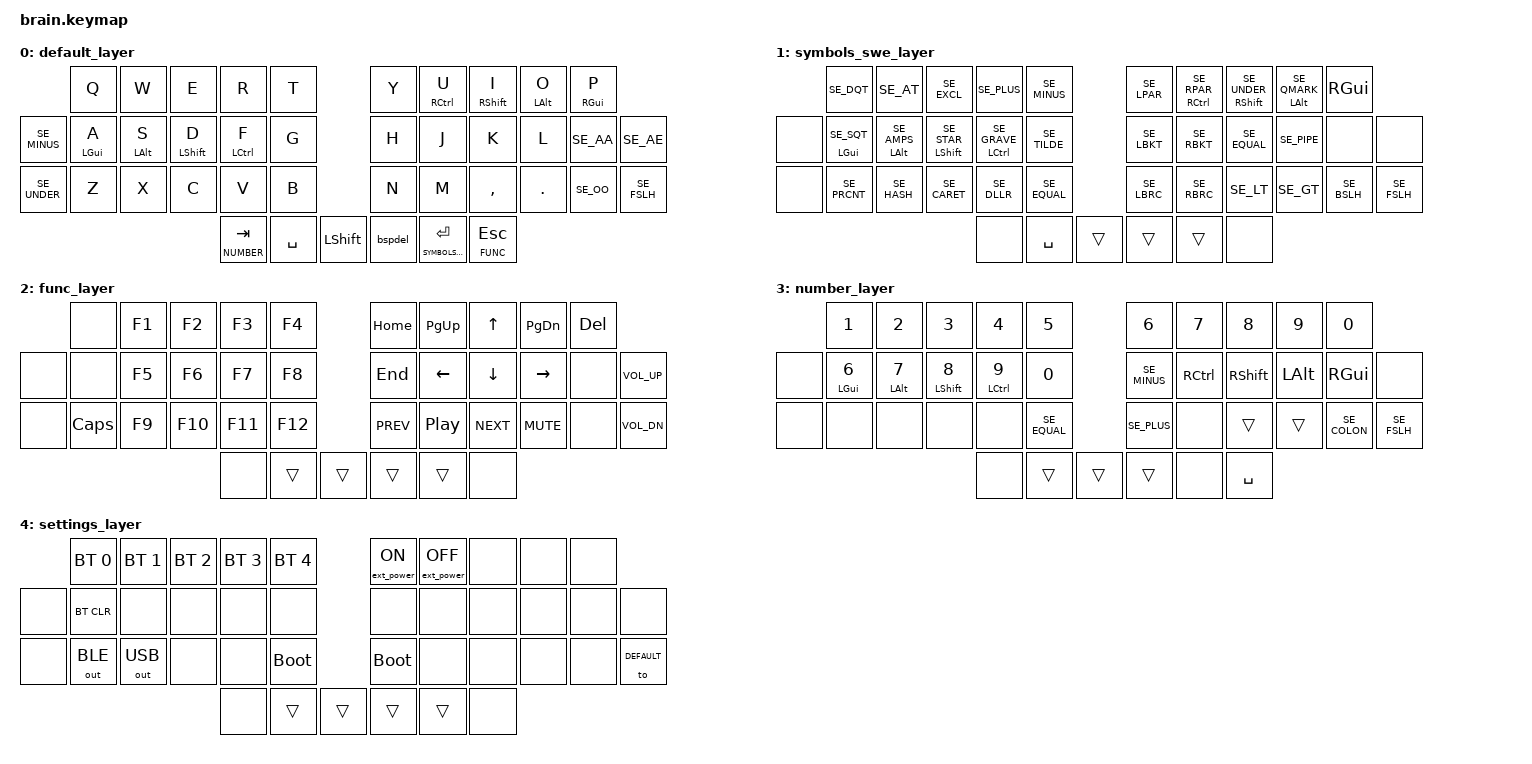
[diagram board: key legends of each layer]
/*
 * Copyright (c) 2020 The ZMK Contributors
 *
 * SPDX-License-Identifier: MIT
 */

#include <behaviors.dtsi>
#include <dt-bindings/zmk/keys.h>
#include <dt-bindings/zmk/bt.h>
#include <dt-bindings/zmk/outputs.h>
#include <dt-bindings/zmk/ext_power.h>
#include "swe_keys.h"

#define DEFAULT     0
#define SYMBOLS_SWE 1
#define FUNC        2
#define NUMBER      3
#define SETTINGS    4

/ {
    behaviors {
        hm: homerow_mods {
            compatible = "zmk,behavior-hold-tap";
            label = "HOMEROW_MODS";
            #binding-cells = <2>;
            tapping-term-ms = <200>;
            quick-tap-ms = <0>;
            flavor = "tap-preferred";
            bindings = <&kp>, <&kp>;
        };
        hs: homerow_mods_slow {
            compatible = "zmk,behavior-hold-tap";
            label = "HOMEROW_MODS_SLOW";
            #binding-cells = <2>;
            tapping-term-ms = <300>;
            quick-tap-ms = <0>;
            flavor = "tap-preferred";
            bindings = <&kp>, <&kp>;
        };
        bspdel: backspace_del {
            compatible = "zmk,behavior-mod-morph";
            #binding-cells = <0>;
            bindings = <&kp BSPC>, <&kp DEL>;
            mods = <(MOD_LCTL|MOD_RCTL)>;
        };
    };
    cond_layers {
        compatible = "zmk,conditional-layers";
        // Define SETTINGS layer as tri-state
        func_tristate {
            if-layers = <SYMBOLS_SWE FUNC>;
            then-layer = <SETTINGS>;
        };
    };

/*           40 Keys
╭─────────────────╮ ╭─────────────────╮
│    0  1  2  3  4│ │ 5  6  7  8  9   │
│10 11 12 13 14 15│ │16 17 18 19 20 21│
│22 23 24 25 26 27│ │28 29 30 31 32 33│
╰────────╮34 35 36│ │37 38 39╭────────╯
         ╰────────╯ ╰────────╯       */
    keymap {
        compatible = "zmk,keymap";

        default_layer {
            bindings = <
                         &kp Q       &kp W       &kp E         &kp R           &kp T                        &kp Y                 &hm RCTRL U  &hm RSHIFT I &hm LALT O &hs RGUI P
           &kp SE_MINUS &hs LGUI A &hm LALT S  &hm LSHIFT D    &hm LCTRL F     &kp G                        &kp H                 &kp J        &kp K        &kp L      &kp SE_AA  &kp SE_AE
            &kp SE_UNDER &kp Z       &kp X       &kp C         &kp V           &kp B                        &kp N                 &kp M        &kp COMMA    &kp DOT    &kp SE_OO  &kp SE_FSLH
                                                              &lt NUMBER TAB  &kp SPACE  &kp LSHIFT &bspdel &lt SYMBOLS_SWE ENTER  &lt FUNC ESC
            >;
        };

        symbols_swe_layer {
            bindings = <
                   &kp SE_DQT       &kp SE_AT         &kp SE_EXCL         &kp SE_PLUS         &kp SE_MINUS                  &kp SE_LPAR   &hm RCTRL SE_RPAR &hm RSHIFT  SE_UNDER &hm LALT SE_QMARK  &kp RGUI 
            &none  &hs LGUI SE_SQT  &hm LALT SE_AMPS  &hm LSHIFT SE_STAR  &hm LCTRL SE_GRAVE  &kp SE_TILDE                  &kp SE_LBKT   &kp SE_RBKT       &kp SE_EQUAL         &kp SE_PIPE        &none        &none
            &none  &kp SE_PRCNT     &kp SE_HASH       &kp SE_CARET        &kp SE_DLLR         &kp SE_EQUAL                  &kp SE_LBRC   &kp SE_RBRC       &kp SE_LT            &kp SE_GT          &kp SE_BSLH  &kp SE_FSLH
                                                                          &none               &kp SPACE    &trans   &trans  &trans        &none
            >;
        };

        func_layer {
            bindings = <
                   &none     &kp F1  &kp F2   &kp F3   &kp F4                    &kp HOME    &kp PG_UP  &kp UP      &kp PG_DN   &kp DEL
            &none  &none     &kp F5  &kp F6   &kp F7   &kp F8                    &kp END     &kp LEFT   &kp DOWN    &kp RIGHT   &none    &kp C_VOL_UP
            &none  &kp CAPS  &kp F9  &kp F10  &kp F11  &kp F12                   &kp C_PREV  &kp C_PP   &kp C_NEXT  &kp K_MUTE  &none    &kp C_VOL_DN
                                              &none    &trans   &trans   &trans  &trans      &none
            >;
        };

        number_layer {
            bindings = <
                   &kp N1       &kp N2      &kp N3         &kp N4        &kp N5                         &kp N6        &kp N7        &kp N8         &kp N9       &kp N0
            &none  &hs LGUI  N6 &hm LALT N7 &hm LSHIFT N8  &hm LCTRL N9  &kp N0                         &kp SE_MINUS  &kp RCTRL     &kp RSHIFT     &kp LALT     &kp RGUI        &none
            &none  &none        &none       &none          &none         &kp SE_EQUAL                   &kp SE_PLUS   &none         &trans         &trans       &kp SE_COLON    &kp SE_FSLH
                                                           &none         &trans        &trans   &trans  &none         &kp SPACE
            >;
        };

        settings_layer {
            bindings = <
                   &bt BT_SEL 0  &bt BT_SEL 1  &bt BT_SEL 2  &bt BT_SEL 3  &bt BT_SEL 4                   &ext_power EP_ON  &ext_power EP_OFF  &none  &none  &none
            &none  &bt BT_CLR    &none         &none         &none         &none                          &none             &none              &none  &none  &none  &none
            &none  &out OUT_BLE  &out OUT_USB  &none         &none         &bootloader                    &bootloader       &none              &none  &none  &none  &to DEFAULT
                                                             &none         &trans        &trans   &trans  &trans            &none
            >;
        };
    };
};

